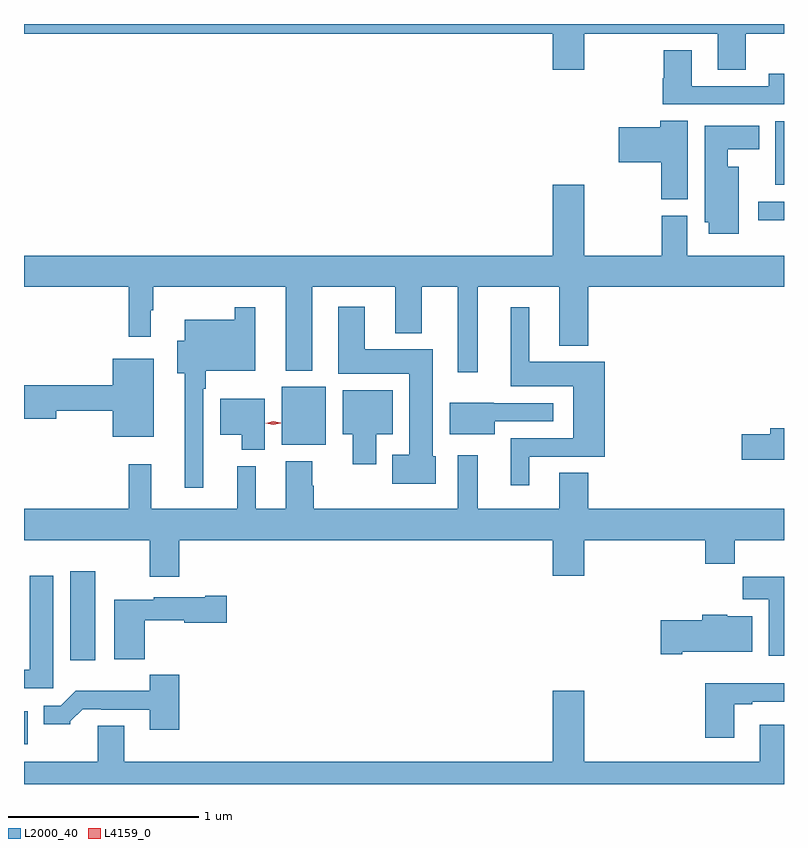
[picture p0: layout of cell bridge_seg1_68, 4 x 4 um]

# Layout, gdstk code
import gdstk
lib = gdstk.Library(unit=1e-6, precision=1e-09)
def R(c, l, rs):  # rectangles x0, y0, x1, y1
    for r in rs: c.add(gdstk.rectangle(r[:2], r[2:], *l))
def P(c, l, *ps):  # polygons
    for p in ps: c.add(gdstk.Polygon(p, *l))
L2000_40 = (2000, 40)
L4159_0 = (4159, 0)

bridge_seg1_68 = lib.new_cell('bridge_seg1_68')
R(bridge_seg1_68, L2000_40, [(593.792,512.03,593.812,512.202), (594.035,512.472,594.166,512.941), (595.148,513.605,595.381,513.91), (597.657,514.787,597.792,514.884), (597.746,514.973,597.792,515.308)])
P(bridge_seg1_68, L2000_40, [(597.591,515.768),(597.792,515.768),(597.792,515.82),(593.792,515.82),(593.792,515.768),(596.576,515.768),(596.576,515.58),(596.74,515.58),(596.74,515.768),(597.443,515.768),(597.443,515.578),(597.591,515.578)],
  [(597.792,515.557),(597.712,515.557),(597.712,515.493),(597.307,515.493),(597.307,515.683),(597.16,515.683),(597.16,515.535),(597.155,515.535),(597.155,515.397),(597.792,515.397)],
  [(597.286,515.312),(597.14,515.312),(597.14,515.276),(596.922,515.276),(596.922,515.093),(597.145,515.093),(597.145,514.897),(597.286,514.897)],
  [(597.553,515.068),(597.496,515.068),(597.496,515.162),(597.661,515.162),(597.661,515.284),(597.374,515.284),(597.374,514.776),(597.395,514.776),(597.395,514.716),(597.553,514.716)],
  [(596.179,514.436),(596.609,514.436),(596.609,514.127),(596.762,514.127),(596.762,514.436),(597.792,514.436),(597.792,514.6),(597.283,514.6),(597.283,514.812),(597.148,514.812),(597.148,514.6),(596.74,514.6),(596.74,514.975),(596.576,514.975),(596.576,514.6),(593.792,514.6),(593.792,514.436),(594.343,514.436),(594.343,514.173),(594.46,514.173),(594.46,514.313),(594.472,514.313),(594.472,514.436),(595.169,514.436),(595.169,513.995),(595.309,513.995),(595.309,514.436),(595.745,514.436),(595.745,514.193),(595.885,514.193),(595.885,514.436),(596.075,514.436),(596.075,513.987),(596.179,513.987)],
  [(595.96,513.546),(595.942,513.546),(595.942,514.108),(595.585,514.108),(595.585,514.333),(595.445,514.333),(595.445,513.98),(595.82,513.98),(595.82,513.553),(595.73,513.553),(595.73,513.401),(595.96,513.401)],
  [(596.452,513.543),(596.848,513.543),(596.848,514.042),(596.452,514.042),(596.452,514.33),(596.354,514.33),(596.354,513.914),(596.684,513.914),(596.684,513.639),(596.354,513.639),(596.354,513.393),(596.452,513.393)],
  [(594.735,513.899),(594.748,513.899),(594.748,513.995),(595.008,513.995),(595.008,514.33),(594.9,514.33),(594.9,514.264),(594.638,514.264),(594.638,514.153),(594.599,514.153),(594.599,513.983),(594.638,513.983),(594.638,513.378),(594.735,513.378)],
  [(594.475,514.057),(594.26,514.057),(594.26,513.92),(593.792,513.92),(593.792,513.742),(593.962,513.742),(593.962,513.784),(594.26,513.784),(594.26,513.647),(594.475,513.647)],
  [(595.645,513.662),(595.732,513.662),(595.732,513.892),(595.469,513.892),(595.469,513.662),(595.523,513.662),(595.523,513.504),(595.645,513.504)],
  [(595.06,513.847),(594.824,513.847),(594.824,513.659),(594.938,513.659),(594.938,513.578),(595.06,513.578)],
  [(596.269,513.729),(596.578,513.729),(596.578,513.825),(596.265,513.825),(596.265,513.826),(596.034,513.826),(596.034,513.662),(596.269,513.662)],
  [(597.792,513.692),(597.719,513.692),(597.719,513.662),(597.57,513.662),(597.57,513.527),(597.792,513.527)],
  [(596.609,513.268),(596.179,513.268),(596.179,513.55),(596.075,513.55),(596.075,513.268),(595.317,513.268),(595.317,513.389),(595.309,513.389),(595.309,513.52),(595.169,513.52),(595.169,513.268),(595.012,513.268),(595.012,513.493),(594.914,513.493),(594.914,513.268),(594.461,513.268),(594.461,513.502),(594.343,513.502),(594.343,513.268),(593.792,513.268),(593.792,513.104),(594.455,513.104),(594.455,512.91),(594.608,512.91),(594.608,513.104),(596.576,513.104),(596.576,512.916),(596.74,512.916),(596.74,513.104),(597.377,513.104),(597.377,512.98),(597.533,512.98),(597.533,513.104),(597.792,513.104),(597.792,513.268),(596.762,513.268),(596.762,513.458),(596.609,513.458)],
  [(593.947,512.917),(593.822,512.917),(593.822,512.422),(593.792,512.422),(593.792,512.325),(593.947,512.325)],
  [(597.792,512.91),(597.574,512.91),(597.574,512.792),(597.713,512.792),(597.713,512.496),(597.792,512.496)],
  [(594.428,512.681),(594.636,512.681),(594.636,512.669),(594.859,512.669),(594.859,512.811),(594.746,512.811),(594.746,512.803),(594.474,512.803),(594.474,512.791),(594.266,512.791),(594.266,512.477),(594.428,512.477)],
  [(597.256,512.516),(597.625,512.516),(597.625,512.704),(597.492,512.704),(597.492,512.71),(597.362,512.71),(597.362,512.682),(597.144,512.682),(597.144,512.504),(597.256,512.504)],
  [(594.608,512.395),(594.453,512.395),(594.453,512.311),(594.064,512.311),(593.985,512.232),(593.897,512.232),(593.897,512.135),(594.036,512.135),(594.036,512.15),(594.1,512.214),(594.199,512.214),(594.199,512.211),(594.455,512.211),(594.455,512.106),(594.608,512.106)],
  [(597.529,512.241),(597.625,512.241),(597.625,512.253),(597.792,512.253),(597.792,512.35),(597.377,512.35),(597.377,512.064),(597.529,512.064)],
  [(597.792,512.131),(597.665,512.131),(597.665,511.936),(596.74,511.936),(596.74,512.311),(596.576,512.311),(596.576,511.936),(594.319,511.936),(594.319,512.126),(594.179,512.126),(594.179,511.936),(593.792,511.936),(593.792,511.82),(597.792,511.82)])
P(bridge_seg1_68, L4159_0, [(595.103,513.71),(595.064,513.72),(595.064,513.72),(595.064,513.72),(595.103,513.73),(595.142,513.721),(595.142,513.72),(595.142,513.72)])

lib.write_gds('bridge_seg1_68.gds')
